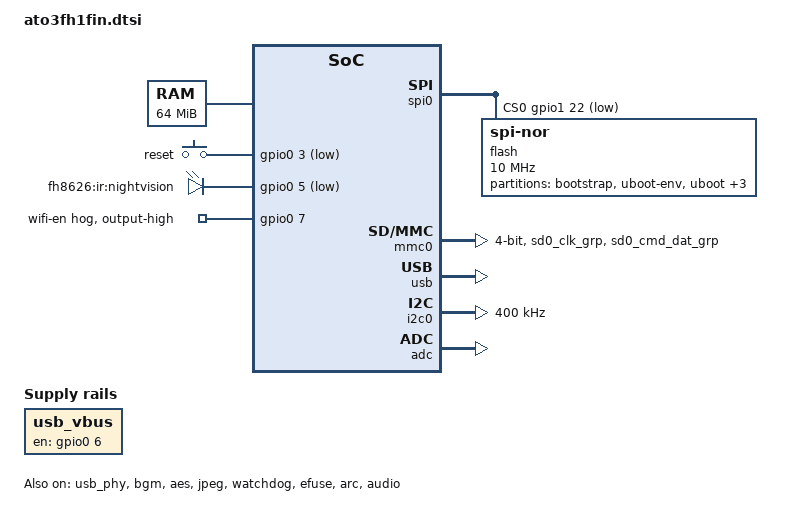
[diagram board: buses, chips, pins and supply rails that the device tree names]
// SPDX-License-Identifier: GPL-2.0
/*
 * Copyright (C) 2026 Difan Zhang
 *
 * ATO3FH1FIN camera board: FH8626V100, 8 MiB SPI NOR, 4-bit microSD slot,
 * USB Wi-Fi and a SmartSens MIPI sensor on I2C0. The sensor is fitted per
 * variant; see the ato3fh1fin-*.dts files.
 */
/dts-v1/;
#include <dt-bindings/input/input.h>
#include "fh8626v100.dtsi"

/ {
	#address-cells = <1>;
	#size-cells = <1>;

	chosen {
		stdout-path = "serial0:115200n8";
		bootargs = "console=ttyS0,115200 root=/dev/mtdblock4 rootfstype=squashfs mtdparts=spi0.0:256k(bootstrap),64k(uboot-env),256k(uboot),1984k(Kernel),5120k(rootfs),512k(rootfs_data)";
	};

	memory@a0000000 {
		device_type = "memory";
		reg = <0xa0000000 0x04000000>;
	};

	usb_vbus: regulator-usb-vbus {
		compatible = "regulator-fixed";
		pinctrl-names = "default";
		pinctrl-0 = <&usb_vbus_pins>;
		regulator-name = "usb-vbus";
		gpio = <&gpio0 6 GPIO_ACTIVE_HIGH>;
		enable-active-high;
		startup-delay-us = <1000>;
	};

	gpio-keys {
		compatible = "gpio-keys";
		pinctrl-names = "default";
		pinctrl-0 = <&reset_key_pins>;

		button-reset {
			label = "reset";
			linux,code = <KEY_RESTART>;
			gpios = <&gpio0 3 GPIO_ACTIVE_LOW>;
		};
	};

	leds {
		compatible = "gpio-leds";
		pinctrl-names = "default";
		pinctrl-0 = <&ir_led_pins>;

		led-ir {
			label = "fh8626:ir:nightvision";
			gpios = <&gpio0 5 GPIO_ACTIVE_LOW>;
			default-state = "off";
		};
	};

	reserved-memory {
		#address-cells = <1>;
		#size-cells = <1>;
		ranges;

		/* U-Boot's boot counter, cleared once a boot succeeds */
		bootcount@a1c20000 {
			reg = <0xa1c20000 0x1000>;
			no-map;
		};

		cma_pool: cma@a2400000 {
			compatible = "shared-dma-pool";
			reusable;
			/*
			 * 24 MiB, 4 MiB-aligned (MAX_ORDER = 11) for media
			 * DMA workspaces.
			 */
			reg = <0xa2400000 0x01800000>;
			linux,cma-default;
		};

		arc_memory: memory@a3f00000 {
			reg = <0xa3f00000 0x000c0000>;
			no-map;
		};

		arc_dma: dma-pool@a3fc0000 {
			compatible = "shared-dma-pool";
			reg = <0xa3fc0000 0x00040000>;
			no-map;
		};
	};
};

&timer {
	clock-frequency = <50000000>;
};

&spi0 {
	num-cs = <1>;
	cs-gpios = <&gpio1 22 GPIO_ACTIVE_LOW>;

	flash@0 {
		compatible = "jedec,spi-nor";
		reg = <0>;
		spi-max-frequency = <10000000>;
		spi-rx-bus-width = <1>;
		spi-tx-bus-width = <1>;

		partitions {
			compatible = "fixed-partitions";
			#address-cells = <1>;
			#size-cells = <1>;
			partition@0 {
				label = "bootstrap";
				reg = <0x000000 0x040000>;
			};
			partition@40000 {
				label = "uboot-env";
				reg = <0x040000 0x010000>;
			};
			partition@50000 {
				label = "uboot";
				reg = <0x050000 0x040000>;
			};
			partition@90000 {
				label = "Kernel";
				reg = <0x090000 0x1f0000>;
			};
			partition@280000 {
				label = "rootfs";
				reg = <0x280000 0x500000>;
			};
			partition@780000 {
				label = "rootfs_data";
				reg = <0x780000 0x080000>;
			};
		};
	};
};

&mmc0 {
	pinctrl-0 = <&sd0_4bit_pins>;
	bus-width = <4>;
	max-frequency = <50000000>;
	clock-freq-min-max = <400000 50000000>;
	cap-sd-highspeed;
	no-1-8-v;
	status = "okay";
};

&pinctrl {
	sd0_4bit_pins: sd0-4bit {
		sd0-clk {
			groups = "sd0_clk_grp";
			function = "mmc0";
			bias-disable;
			fullhan,drive = <4>;
		};

		sd0-cmd-dat {
			groups = "sd0_cmd_dat_grp";
			function = "mmc0";
			bias-pull-up;
			fullhan,drive = <0>;
		};
	};

	usb_vbus_pins: usb-vbus {
		groups = "gpio6_grp";
		function = "gpio";
	};

	wifi_en_pins: wifi-en {
		groups = "gpio7_grp";
		function = "gpio";
	};

	reset_key_pins: reset-key {
		groups = "gpio3_grp";
		function = "gpio";
	};

	ir_led_pins: ir-led {
		groups = "gpio5_grp";
		function = "gpio";
	};

	spk_en_pins: spk-en {
		groups = "gpio1_grp";
		function = "gpio";
	};
};

&gpio0 {
	pinctrl-names = "default";
	pinctrl-0 = <&wifi_en_pins>;

	/* The USB Wi-Fi module is held in reset while this line is low. */
	wifi-en-hog {
		gpio-hog;
		gpios = <7 GPIO_ACTIVE_HIGH>;
		output-high;
		line-name = "wifi-en";
	};
};

&usb {
	status = "okay";
};

&usb_phy {
	vbus-supply = <&usb_vbus>;
	status = "okay";
};

&dma {
	status = "okay";
};

&bgm {
	status = "okay";
};

&i2c0 {
	status = "okay";
	clock-frequency = <400000>;
};

&aes {
	status = "okay";
};

&jpeg {
	status = "okay";
};

&adc {
	status = "okay";
};

&watchdog {
	status = "okay";
};

&efuse {
	status = "okay";
};

&arc {
	memory-region = <&arc_memory>, <&arc_dma>;
	status = "okay";
};

&audio {
	pinctrl-names = "default";
	pinctrl-0 = <&spk_en_pins>;
	spk-gpios = <&gpio0 1 GPIO_ACTIVE_LOW>;
	status = "okay";
};
